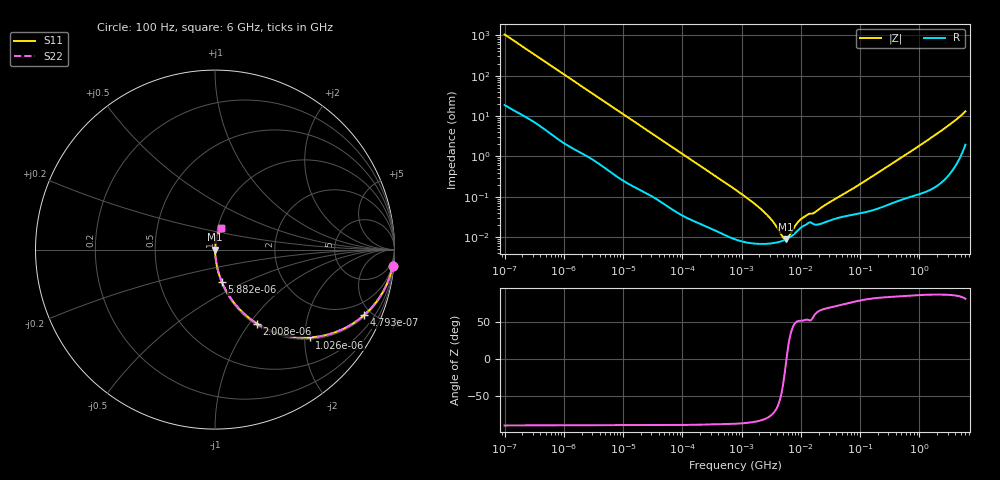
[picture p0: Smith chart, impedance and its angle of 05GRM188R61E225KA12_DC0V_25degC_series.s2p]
!Murata Part Number: GRM188R61E225KA12
!These Parameters are Measured in Series Mode Connection
!  o--ll--o
!Port1  Port2
!  o------o
!Operation Temp=25[degC], DC Bias Voltage=0[V]
!Freq. Start=100[Hz] Stop=6[GHz], 401[Steps]
!Data Generated on Aug 1, 2022
# Hz S RI R 50
!Freq.(Hz) S11(Real) S11(Imag) S21(Real) S21(Imag) S12(Real) S12(Imag) S22(Real) S22(Imag)
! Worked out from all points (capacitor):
!   401 points, 100 Hz to 6 GHz, reference 50 ohm
!   read as one part in series: C = 1.51 uF near 109.4 Hz
!   lowest |Z| = 8.8 mohm at 5.555 MHz (marker M1)
!   series resonance near 5.714 MHz, so ESL is about 520 pH
!   S11 on the Smith chart (normalised r, x): 100 Hz: 1, -21; 479.3 Hz: 1.09, -4.49; 1.026 kHz: 1.04, -2.12; 2.008 kHz: 1.02, -1.09; 5.882 kHz: 1.01, -0.38; 6 GHz: 1.04, +0.26
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100  0.9894 -0.0937  0.0106 0.0937  0.0106 0.0937  0.9894 -0.0937
256.0666  0.9413 -0.2249  0.0587 0.2249  0.0587 0.2249  0.9413 -0.2249
479.2788  0.8295 -0.3659  0.1705 0.3659  0.1705 0.3659  0.8295 -0.3659
1026.029  0.5278 -0.4895  0.4722 0.4895  0.4722 0.4895  0.5278 -0.4895
2008.354  0.2339 -0.4125  0.7661 0.4125  0.7661 0.4125  0.2339 -0.4125
3286.544  0.1068 -0.2975  0.8932 0.2975  0.8932 0.2975  0.1068 -0.2975
5882.059  0.0384 -0.1812  0.9616 0.1812  0.9616 0.1812  0.0384 -0.1812
13771.83  0.0085 -0.0808  0.9915 0.0808  0.9915 0.0808  0.0085 -0.0808
40334.87  0.00161 -0.0283  0.9984 0.0283  0.9984 0.0283  0.00161 -0.0283
774596.7  9.09e-05 -0.00153  0.9999 0.00153  0.9999 0.00153  9.09e-05 -0.00153
2372521  6.83e-05 -0.000424  0.9999 0.000424  0.9999 0.000424  6.83e-05 -0.000424
3394479  7.12e-05 -0.000232  0.9999 0.000232  0.9999 0.000232  7.12e-05 -0.000232
4856642  8.06e-05 -6.94e-05  0.9999 6.94e-05  0.9999 6.94e-05  8.06e-05 -6.94e-05
5554849  8.72e-05 -1.19e-05  0.9999 1.19e-05  0.9999 1.19e-05  8.72e-05 -1.19e-05
6353432  9.68e-05 4.52e-05  0.9999 -4.52e-05  0.9999 -4.52e-05  9.68e-05 4.52e-05
8311524  0.000133 0.000157  0.9999 -0.000157  0.9999 -0.000157  0.000133 0.000157
9941735  0.000171 0.000218  0.9998 -0.000218  0.9998 -0.000218  0.000171 0.000218
1.300572e7  0.000217 0.000291  0.9998 -0.000291  0.9998 -0.000291  0.000217 0.000291
1.555665e7  0.000222 0.000312  0.9998 -0.000312  0.9998 -0.000312  0.000222 0.000312
3.124326e8  0.000688 0.006  0.9993 -0.006  0.9993 -0.006  0.000688 0.006
2.048624e9  0.00333 0.0375  0.9967 -0.0375  0.9967 -0.0375  0.00333 0.0375
6e9  0.0348 0.1227  0.9652 -0.1227  0.9652 -0.1227  0.0348 0.1227
